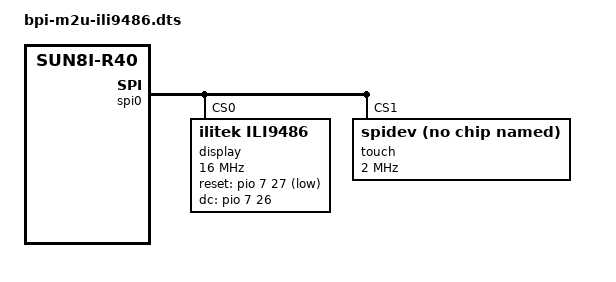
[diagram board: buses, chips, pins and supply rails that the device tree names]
/dts-v1/;
/plugin/;

/ {
    compatible = "sinovoip,bpi-m2-ultra", "allwinner,sun8i-r40";
};

&spi0 {
    pinctrl-names = "default";
    pinctrl-0 = <&spi0_pc_pins &spi0_cs0_pc_pin>;

    status = "okay";

    #address-cells = <1>;
    #size-cells = <0>;

    display@0 {
        txbuflen = <32768>;
        regwidth = <16>;
        rotate = <90>;
        compatible = "ilitek,ili9486";
        reg = <0>;
        spi-max-frequency = <16000000>;

        buswidth = <8>;
        fps = <30>;
        bgr;

        reset-gpios = <&pio 7 27 1>;
        dc-gpios = <&pio 7 26 0>;
    };

    /* Touch controller of the panel shield (XPT2046 / ADS7846 compatible),
     * exposed as /dev/spidev0.1 and driven by the display app. The kernel's
     * ads7846 driver cannot be used: its pen IRQ is on PI20 (header pin 11),
     * which has no interrupt function on this SoC. The chip select (header
     * pin 26) is PH24, switched as a plain GPIO by the app, so SPI0's own
     * CS1 (PC24, owned by the eMMC) is not used. The app also polls PI20 for
     * "finger down". "rohm,dh2228fv" is just a compatible the spidev driver
     * accepts. */
    touch@1 {
        compatible = "rohm,dh2228fv";
        reg = <1>;
        spi-max-frequency = <2000000>;
    };
};
